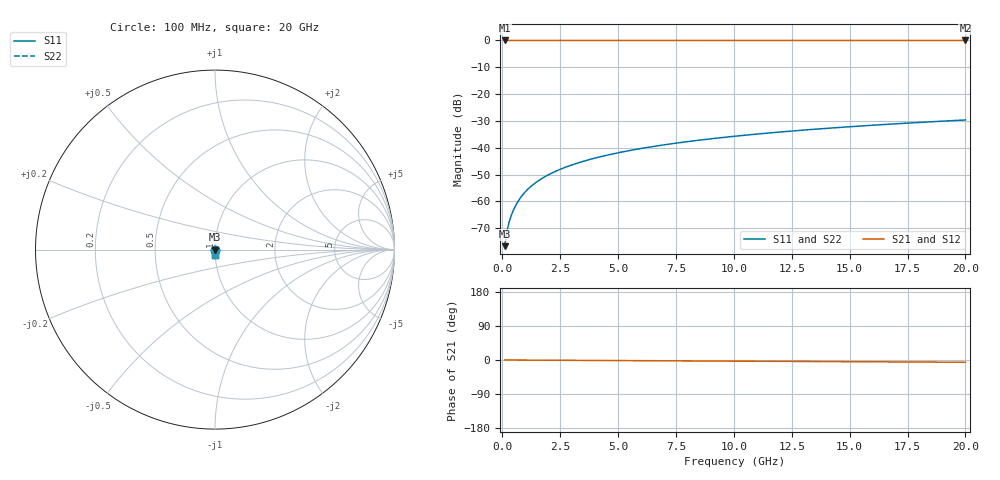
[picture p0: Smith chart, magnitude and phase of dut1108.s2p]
! Touchstone file exported from HFSS 2026.1.0
!  File:  C:/ffzhzh/LocalFiles/Ansys_Project_Files/temp_train_TSV_1108_1783190653_43440.aedt
!  Generated:  02:45:29 AM Jul  5, 2026
!  Design:  TSV
!  Project:  temp_train_TSV_1108_1783190653_43440
! Variables:
!  h_bsmrdl = 2um
!  h_ox = 20um
!  h_rdl = 5um
!  h_sub = 55.28um
!  h_tmrdl = 5um
!  h_tsv = 55.28um
!  h_via = 3um
!  l_bsmrdl = 300um
!  l_sub = 429.18um
!  l_tmrdl = 200um
!  m_sub = 200um
!  pitch = 43.78um
!  r_tsv = 14.59um
!  s_tmrdl = 10um
!  w_bsmrdl = 18um
!  w_sub = 500um
!  w_tmrdl = 12um
!  x_tsv_center1 = 206um
!  x_tsv_center2 = 524um
!  x_tsv_center3 = 736um
!  x_tsv_center4 = 1054um
!  x_tsv_center5 = 1266um
!  x_tsv_center6 = 1584um
# GHz S MA R 50.000000
! Terminal data exported
! Port[1] = TSV1_1_T1
! Port[2] = TSV1_1_T2
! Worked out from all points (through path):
!   200 points, 100 MHz to 20 GHz, reference 50 ohm
!   highest |S21| = 0.00 dB at 100 MHz (marker M1); lowest = 0.0 dB at 20 GHz (marker M2)
!   lowest |S11| = -76.7 dB at 100 MHz (marker M3), VSWR 1.00, Z = 50 - j0.0133 ohm
!   |S11| at or under -10 dB: start of sweep to end of sweep
!   |S22| runs from -76.7 to -29.6 dB; largest |S21 - S12| = 1.3e-15
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0.1  0.0001462 -65.4  0.9999 -0.0  0.9999 -0.0  0.0001462 -65.4
! Gamma 0 0 0 0
! Port Impedance 50 0 50 0
0.2  0.000278 -75.1  0.9999 -0.1  0.9999 -0.1  0.000278 -75.1
0.3  0.0004184 -78.1  0.9999 -0.1  0.9999 -0.1  0.0004184 -78.1
0.4  0.0005652 -79.4  0.9999 -0.1  0.9999 -0.1  0.0005652 -79.4
0.5  0.0007172 -80.3  0.9999 -0.2  0.9999 -0.2  0.0007172 -80.3
0.7  0.001032 -81.5  0.9998 -0.2  0.9998 -0.2  0.001032 -81.5
0.8  0.001192 -82.0  0.9998 -0.2  0.9998 -0.2  0.001192 -82.0
1  0.001516 -83.0  0.9998 -0.3  0.9998 -0.3  0.001516 -83.0
1.2  0.001842 -83.8  0.9998 -0.4  0.9998 -0.4  0.001842 -83.8
1.4  0.002168 -84.4  0.9998 -0.4  0.9998 -0.4  0.002168 -84.4
1.7  0.002657 -85.2  0.9998 -0.5  0.9998 -0.5  0.002657 -85.2
2  0.003146 -85.8  0.9997 -0.6  0.9997 -0.6  0.003146 -85.8
2.7  0.004286 -86.9  0.9997 -0.8  0.9997 -0.8  0.004286 -86.9
3.5  0.005591 -87.7  0.9997 -1.1  0.9997 -1.1  0.005591 -87.7
4.2  0.006737 -88.2  0.9996 -1.3  0.9996 -1.3  0.006737 -88.2
5  0.008051 -88.7  0.9996 -1.5  0.9996 -1.5  0.008051 -88.7
6.8  0.01102 -89.6  0.9995 -2.0  0.9995 -2.0  0.01102 -89.6
8.3  0.01351 -90.3  0.9994 -2.5  0.9994 -2.5  0.01351 -90.3
10.1  0.01649 -91.0  0.9993 -3.0  0.9993 -3.0  0.01649 -91.0
13.4  0.02197 -92.3  0.9991 -4.0  0.9991 -4.0  0.02197 -92.3
16.7  0.02746 -93.5  0.9989 -5.0  0.9989 -5.0  0.02746 -93.5
20  0.03295 -94.6  0.9986 -6.0  0.9986 -6.0  0.03295 -94.6
